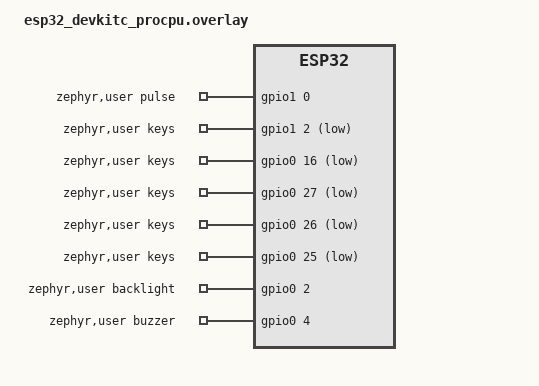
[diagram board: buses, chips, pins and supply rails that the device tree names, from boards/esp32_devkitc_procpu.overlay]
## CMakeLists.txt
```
cmake_minimum_required(VERSION 3.20.0)
find_package(Zephyr REQUIRED HINTS $ENV{ZEPHYR_BASE})
project(taxi_meter)

target_include_directories(app PRIVATE core src)
target_sources(app PRIVATE
	core/fare_engine.c
	core/json_lite.c
	core/urlq.c
	core/ota_logic.c
	core/nobat.c
	src/main.c
	src/pulse.c
	src/keys.c
	src/display.c
	src/ui.c
	src/clock.c
	src/meter.c
	src/beep.c
	src/persist.c
	src/tariff.c
	src/net.c
	src/postq.c
	src/trip_store.c
	src/report.c
	src/ota.c
	src/wdog.c
)
```

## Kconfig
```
# Application options. Everything else comes from Zephyr.

config TAXI_OTA
	bool "Firmware update over HTTPS (OTA)"
	default y
	depends on BOOTLOADER_MCUBOOT
	select FLASH
	select FLASH_MAP
	select STREAM_FLASH
	select IMG_MANAGER
	select IMG_ERASE_PROGRESSIVELY
	help
	  The meter downloads a signed MCUboot image into slot 1 when the server offers a newer
	  version, MCUboot checks the signature and swaps it in, and the new image must prove itself
	  (talk to the server) before it is confirmed. Without confirmation the old image comes back.
	  Needs a sysbuild build with MCUboot (see zephyr-app/README.md).

config TAXI_SERVER_HOST
	string "Server host name or IP address"
	default "node.raxitaxi.ir"
	help
	  The tariff / trip server. For a test on your own PC put its IP here, for example
	  west build ... -- -DCONFIG_TAXI_SERVER_HOST=\"203.0.113.7\" -DCONFIG_TAXI_SERVER_PORT=8443

config TAXI_SERVER_PORT
	int "Server HTTPS port"
	default 443
	range 1 65535

config TAXI_NTP_HOST
	string "NTP server (host name or IP)"
	default "ntp.day.ir"
	help
	  The mock server can also answer NTP (UDP 123) for tests on a local network.

source "Kconfig.zephyr"
```

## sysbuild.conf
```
# Build with:  west build --sysbuild -b esp32_devkitc/esp32/procpu zephyr-app -- \
#                  -DSB_CONFIG_BOOT_SIGNATURE_KEY_FILE=\"<your private key .pem>\"
# MCUboot checks the signature of every update with the public half of this key.
SB_CONFIG_BOOTLOADER_MCUBOOT=y
SB_CONFIG_BOOT_SIGNATURE_TYPE_ECDSA_P256=y
# Swap mode (with the scratch partition): the old image is kept and comes back if the
# new one is not confirmed. The default of the ESP32 board is "overwrite only" (no way back).
SB_CONFIG_MCUBOOT_MODE_SWAP_SCRATCH=y
```

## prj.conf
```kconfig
CONFIG_GPIO=y
CONFIG_I2C=y
CONFIG_LOG=y
CONFIG_LOG_MODE_MINIMAL=n
CONFIG_ASSERT=y
CONFIG_MAIN_STACK_SIZE=2048
CONFIG_THREAD_NAME=y
CONFIG_PICOLIBC=y

# ---- storage (settings in the "storage" flash partition) ----
CONFIG_FLASH=y
CONFIG_FLASH_MAP=y
CONFIG_NVS=y
CONFIG_SETTINGS=y
CONFIG_SETTINGS_NVS=y
CONFIG_SETTINGS_RUNTIME=n

# ---- JSON: own reader in core/json_lite.c ----

# ---- networking ----
CONFIG_NETWORKING=y
CONFIG_NET_L2_ETHERNET=y
CONFIG_NET_IPV4=y
CONFIG_NET_IPV6=n
CONFIG_NET_TCP=y
CONFIG_NET_UDP=y
CONFIG_NET_DHCPV4=y
CONFIG_NET_SOCKETS=y
CONFIG_DNS_RESOLVER=y
CONFIG_NET_CONFIG_SETTINGS=y
CONFIG_NET_CONFIG_AUTO_INIT=y
CONFIG_NET_CONFIG_NEED_IPV4=n
CONFIG_TEST_RANDOM_GENERATOR=y
CONFIG_NET_PKT_RX_COUNT=8
CONFIG_NET_PKT_TX_COUNT=8
CONFIG_NET_BUF_RX_COUNT=20
CONFIG_NET_BUF_TX_COUNT=20
CONFIG_NET_MAX_CONTEXTS=10
CONFIG_NET_TX_STACK_SIZE=2048
CONFIG_NET_RX_STACK_SIZE=2048
CONFIG_NET_MGMT_EVENT_STACK_SIZE=2048
CONFIG_NET_MGMT_EVENT_QUEUE_SIZE=16
CONFIG_NET_MGMT_EVENT_INFO=y
CONFIG_NET_MGMT_EVENT_QUEUE_TIMEOUT=5000
CONFIG_SYSTEM_WORKQUEUE_STACK_SIZE=2048
CONFIG_ZVFS_POLL_MAX=8

# ---- WiFi ----
CONFIG_WIFI=y
CONFIG_WIFI_ESP32=y
CONFIG_NET_L2_WIFI_MGMT=y

# ---- SNTP / HTTP / TLS ----
CONFIG_SNTP=y
CONFIG_HTTP_CLIENT=y
CONFIG_MBEDTLS=y
CONFIG_MBEDTLS_BUILTIN=y
CONFIG_MBEDTLS_ENABLE_HEAP=y
CONFIG_MBEDTLS_HEAP_SIZE=56000
# 16 KB = the TLS maximum. With 8 KB a server with a long certificate chain (~10 KB) could not be reached.
# Checked with tests/tls/check_tls.sh and the mock server 'bigchain' profile: heap peak ~46 KB of 56 KB.
CONFIG_MBEDTLS_SSL_MAX_CONTENT_LEN=16384
CONFIG_NET_SOCKETS_SOCKOPT_TLS=y
CONFIG_NET_SOCKETS_TLS_MAX_CONTEXTS=2
CONFIG_REBOOT=y

# ---- RAM: put .noinit (stacks, heaps, net buffers) into the free DRAM1 region ----
CONFIG_ESP32_REGION_1_NOINIT=y

# ---- stability ----
CONFIG_WATCHDOG=y
CONFIG_TASK_WDT=y
CONFIG_TASK_WDT_HW_FALLBACK=y
CONFIG_TASK_WDT_HW_FALLBACK_DELAY=500
CONFIG_TASK_WDT_CHANNELS=8
CONFIG_HWINFO=y
CONFIG_INIT_STACKS=y

# ---- stack usage report in the log every 2 minutes (shows how close each thread is to overflow) ----
CONFIG_THREAD_ANALYZER=y
CONFIG_THREAD_ANALYZER_USE_LOG=y
CONFIG_THREAD_ANALYZER_AUTO=y
CONFIG_THREAD_ANALYZER_AUTO_INTERVAL=120
CONFIG_THREAD_ANALYZER_AUTO_STACK_SIZE=1536

# ---- TLS: modern cipher suites ----
# Without these the meter only offers static-RSA + AES-CBC, which most servers refuse today
# (Nginx / Cloudflare / Node behind a proxy want ECDHE + AES-GCM). Checked by tests/tls/check_tls.sh.
CONFIG_MBEDTLS_ECP_C=y
CONFIG_MBEDTLS_ECDH_C=y
CONFIG_MBEDTLS_ECDSA_C=y
CONFIG_MBEDTLS_KEY_EXCHANGE_ECDHE_RSA_ENABLED=y
CONFIG_MBEDTLS_KEY_EXCHANGE_ECDHE_ECDSA_ENABLED=y
CONFIG_MBEDTLS_ECP_DP_SECP256R1_ENABLED=y
CONFIG_MBEDTLS_ECP_DP_SECP384R1_ENABLED=y
CONFIG_MBEDTLS_ECP_DP_CURVE25519_ENABLED=y
CONFIG_MBEDTLS_CIPHER_GCM_ENABLED=y
CONFIG_MBEDTLS_SHA384=y
CONFIG_MBEDTLS_SHA512=y
CONFIG_MBEDTLS_SSL_EXTENDED_MASTER_SECRET=y
# SNI: the meter must send the server name, or a server with several domains (CDN, shared hosting)
# answers with the wrong certificate or refuses.
CONFIG_MBEDTLS_SERVER_NAME_INDICATION=y
```

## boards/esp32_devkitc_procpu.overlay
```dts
/*
 * Taxi meter pin map (same as the Arduino version).
 * ESP32: gpio0 = GPIO0..31, gpio1 = GPIO32..39.
 *   GPIO32 = gpio1 pin 0, GPIO34 = gpio1 pin 2.
 * I2C0 (SDA=21, SCL=22, 100 kHz) is already set up by the board file.
 */
#include <zephyr/dt-bindings/gpio/gpio.h>

/ {
	zephyr,user {
		/* wheel pulse sensor, GPIO32, rising edge, internal pull-up */
		pulse-gpios = <&gpio1 0 GPIO_PULL_UP>;

		/* K1..K5. K1 = GPIO34 is input-only: it has NO internal pull-up,
		 * so the board needs an external pull-up on K1. */
		keys-gpios = <&gpio1 2 GPIO_ACTIVE_LOW>,
			     <&gpio0 16 (GPIO_ACTIVE_LOW | GPIO_PULL_UP)>,
			     <&gpio0 27 (GPIO_ACTIVE_LOW | GPIO_PULL_UP)>,
			     <&gpio0 26 (GPIO_ACTIVE_LOW | GPIO_PULL_UP)>,
			     <&gpio0 25 (GPIO_ACTIVE_LOW | GPIO_PULL_UP)>;

		/* display backlight, GPIO2 */
		backlight-gpios = <&gpio0 2 GPIO_ACTIVE_HIGH>;

		/* buzzer, GPIO4 */
		buzzer-gpios = <&gpio0 4 GPIO_ACTIVE_HIGH>;
	};
};
```

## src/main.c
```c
#include <zephyr/kernel.h>
#include <zephyr/fatal.h>
#include <zephyr/logging/log_ctrl.h>
#include <zephyr/sys/reboot.h>
#include <zephyr/logging/log.h>
#include "hw.h"
#include "meter.h"
#include "ui.h"
#include "net.h"
#include "persist.h"
#include "wdog.h"
#include "trip_store.h"

LOG_MODULE_REGISTER(main, LOG_LEVEL_INF);

/* A crash (stack overflow, bad pointer, assert) restarts the meter at once
 * instead of freezing. The queued trips are in flash, so nothing is lost. */
void k_sys_fatal_error_handler(unsigned int reason, const struct arch_esf *esf)
{
	ARG_UNUSED(esf);
	LOG_PANIC();
	LOG_ERR("fatal error %u, rebooting", reason);
	sys_reboot(SYS_REBOOT_COLD);
	CODE_UNREACHABLE;
}

int main(void)
{
	log_reset_cause();
	wdog_init();
	LOG_INF("taxi meter start");
	beep_init();
	pulse_init();
	keys_init();
	display_init();
	meter_init();
	persist_init();
	net_init();

	/* power was lost during a trip: bring it back (time without power is not counted) */
	trip_state_t saved;

	if (trip_store_load(&saved)) {
		meter_import(&saved);
		LOG_WRN("restored a running trip from flash");
	}
	ui_start();
	return 0;
}
```

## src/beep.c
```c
#include "hw.h"
#include <zephyr/kernel.h>
#include <zephyr/drivers/gpio.h>

static const struct gpio_dt_spec buzzer = GPIO_DT_SPEC_GET(DT_PATH(zephyr_user), buzzer_gpios);

struct beep_msg {
	uint32_t freq;
	uint32_t ms;
};

K_MSGQ_DEFINE(beep_q, sizeof(struct beep_msg), 4, 4);

static void beep_thread(void *a, void *b, void *c)
{
	struct beep_msg m;

	while (1) {
		k_msgq_get(&beep_q, &m, K_FOREVER);
		uint32_t half_us = 500000U / m.freq;
		uint32_t n = (m.ms * 1000U) / (2 * half_us);

		for (uint32_t i = 0; i < n; i++) {
			gpio_pin_set_dt(&buzzer, 1);
			k_busy_wait(half_us);
			gpio_pin_set_dt(&buzzer, 0);
			k_busy_wait(half_us);
		}
	}
}

K_THREAD_DEFINE(beep_tid, 1024, beep_thread, NULL, NULL, NULL, 12, 0, 0);

void beep_init(void)
{
	if (gpio_is_ready_dt(&buzzer)) {
		gpio_pin_configure_dt(&buzzer, GPIO_OUTPUT_INACTIVE);
	}
}

void beep(uint32_t freq_hz, uint32_t ms)
{
	struct beep_msg m = {.freq = freq_hz ? freq_hz : 1000, .ms = ms};

	k_msgq_put(&beep_q, &m, K_NO_WAIT);
}
```

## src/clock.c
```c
#include "hw.h"
#include <zephyr/kernel.h>

static int64_t base_epoch_s;   /* epoch at uptime_base_s */
static int64_t uptime_base_s;
static int32_t tz_offset;
static bool is_set;

void clock_set_epoch(int64_t epoch_s, int32_t tz_offset_s)
{
	base_epoch_s = epoch_s;
	uptime_base_s = k_uptime_get() / 1000;
	tz_offset = tz_offset_s;
	is_set = true;
}

bool clock_is_set(void)
{
	return is_set;
}

void clock_get_hm(int *h, int *m)
{
	if (!is_set) {
		*h = 0;
		*m = 0;
		return;
	}
	int64_t now = base_epoch_s + (k_uptime_get() / 1000 - uptime_base_s) + tz_offset;
	int64_t day_s = ((now % 86400) + 86400) % 86400;

	*h = (int)(day_s / 3600);
	*m = (int)((day_s % 3600) / 60);
}

int clock_hour_or_unset(void)
{
	int h, m;

	if (!is_set) {
		return -1;
	}
	clock_get_hm(&h, &m);
	return h;
}

int32_t clock_day(void)
{
	if (!is_set) {
		return -1;
	}
	int64_t now = base_epoch_s + (k_uptime_get() / 1000 - uptime_base_s) + tz_offset;

	return (int32_t)(now / 86400);
}
```

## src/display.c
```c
/*
 * 12-digit 7-segment display on a HT16K33 (I2C 0x70).
 * Wiring is custom: segments a..dp are on COM0..COM7, digits are on the ROW pins.
 * Same digit remap and buffer layout as the Arduino version.
 */
#include "hw.h"
#include "wdog.h"
#include <string.h>
#include <zephyr/kernel.h>
#include <zephyr/drivers/i2c.h>
#include <zephyr/logging/log.h>

LOG_MODULE_REGISTER(display, LOG_LEVEL_INF);

#define HT16K33_ADDR 0x70
#define FRAME_MS 250 /* max wait: blink phase and colon change without new text */
#define REINIT_MS 5000 /* resend the init commands (survives a display chip reset) */

static const struct device *const i2c_dev = DEVICE_DT_GET(DT_NODELABEL(i2c0));

/* ASCII 32..127 -> segments (bit0..6 = a..g, bit7 = dp) */
static const uint8_t font[96] = {

    0x00, /* (space) */
    0x86, /* ! */
    0x22, /* " */
    0x7E, /* # */
    0x6D, /* $ */
    0xD2, /* % */
    0x46, /* & */
    0x20, /* ' */
    0x29, /* ( */
    0x0B, /* ) */
    0x21, /* * */
    0x70, /* + */
    0x10, /* , */
    0x40, /* - */
    0x80, /* . */
    0x52, /* / */
    0x3F, /* 0 */
    0x06, /* 1 */
    0x5B, /* 2 */
    0x4F, /* 3 */
    0x66, /* 4 */
    0x6D, /* 5 */
    0x7D, /* 6 */
    0x07, /* 7 */
    0x7F, /* 8 */
    0x6F, /* 9 */
    0x09, /* : */
    0x0D, /* ; */
    0x61, /* < */
    0x48, /* = */
    0x43, /* > */
    0xD3, /* ? */
    0x5F, /* @ */
    0x77, /* A */
    0x7C, /* B */
    0x39, /* C */
    0x5E, /* D */
    0x79, /* E */
    0x71, /* F */
    0x3D, /* G */
    0x76, /* H */
    0x30, /* I */
    0x1E, /* J */
    0x75, /* K */
    0x38, /* L */
    0x15, /* M */
    0x37, /* N */
    0x3F, /* O */
    0x73, /* P */
    0x6B, /* Q */
    0x33, /* R */
    0x6D, /* S */
    0x78, /* T */
    0x3E, /* U */
    0x3E, /* V */
    0x2A, /* W */
    0x76, /* X */
    0x6E, /* Y */
    0x5B, /* Z */
    0x39, /* [ */
    0x64, /* \ */
    0x0F, /* ] */
    0x23, /* ^ */
    0x08, /* _ */
    0x02, /* ` */
    0x5F, /* a */
    0x7C, /* b */
    0x58, /* c */
    0x5E, /* d */
    0x7B, /* e */
    0x71, /* f */
    0x6F, /* g */
    0x74, /* h */
    0x10, /* i */
    0x0C, /* j */
    0x75, /* k */
    0x30, /* l */
    0x14, /* m */
    0x54, /* n */
    0x5C, /* o */
    0x73, /* p */
    0x67, /* q */
    0x50, /* r */
    0x6D, /* s */
    0x78, /* t */
    0x1C, /* u */
    0x1C, /* v */
    0x14, /* w */
    0x76, /* x */
    0x6E, /* y */
    0x5B, /* z */
    0x46, /* { */
    0x30, /* | */
    0x70, /* } */
    0x01, /* ~ */
    0x00, /* (del) */
};

static K_MUTEX_DEFINE(lock);
static K_SEM_DEFINE(wake, 0, 1);
static char text[12 + 1] = "            ";
static uint8_t dp_mask[12]; /* dp requested by a '.' in the text */
static bool colon_on;
static bool wifi_ok;

/* Parse "123.4" style text into `width` digit characters.
 * '.' sets the dp of the previous digit. Result is padded with spaces. */
static void parse_field(const char *s, int width, char *chars, uint8_t *dps)
{
	int n = 0;

	memset(chars, ' ', width);
	memset(dps, 0, width);

	for (const char *p = s; *p && n < width; p++) {
		if (*p == '.') {
			if (n > 0) {
				dps[n - 1] = 0x80;
			}
			continue;
		}
		chars[n++] = *p;
	}
}

void display_set(const char *big8, const char *small4, bool show_colon)
{
	char c1[8], c2[4];
	uint8_t d1[8], d2[4];

	parse_field(big8, 8, c1, d1);
	parse_field(small4, 4, c2, d2);

	bool changed;

	k_mutex_lock(&lock, K_FOREVER);
	changed = memcmp(text, c1, 8) || memcmp(text + 8, c2, 4) || memcmp(dp_mask, d1, 8) ||
		  memcmp(dp_mask + 8, d2, 4) || colon_on != show_colon;
	memcpy(text, c1, 8);
	memcpy(text + 8, c2, 4);
	memcpy(dp_mask, d1, 8);
	memcpy(dp_mask + 8, d2, 4);
	colon_on = show_colon;
	k_mutex_unlock(&lock);

	if (changed) {
		k_sem_give(&wake); /* redraw right now, do not wait for the next frame */
	}
}

void display_set_wifi(bool connected)
{
	wifi_ok = connected;
	k_sem_give(&wake);
}

/* logical index (0..7 big field, 8..11 small field) -> physical position */
static const uint8_t phys_to_logical[12] = {7, 8, 9, 10, 11, 3, 2, 0, 1, 4, 5, 6};

static void build_frame(uint8_t buf[16], const char *txt, const uint8_t *dps, bool colon)
{
	uint8_t seg[12];

	for (int i = 0; i < 12; i++) {
		unsigned char ch = (unsigned char)txt[i];

		if (ch < 32 || ch > 127) {
			ch = ' ';
		}
		seg[i] = font[ch - 32] | dps[i];
	}
	/* colon = dp of the 2nd char of the small field (logical 9) */
	if (colon) {
		seg[9] |= 0x80;
	} else {
		seg[9] &= (uint8_t)~0x80;
	}

	uint8_t phys[12];

	for (int p = 0; p < 12; p++) {
		phys[p] = seg[phys_to_logical[p]];
	}

	memset(buf, 0, 16);
	for (int s = 0; s < 8; s++) {
		uint8_t lower = 0, upper = 0;

		for (int i = 0; i < 5; i++) { /* ROW3..ROW7 */
			lower <<= 1;
			if (phys[i] & (1 << s)) {
				lower |= 1;
			}
		}
		for (int i = 5; i < 12; i++) { /* ROW8..ROW14 */
			upper <<= 1;
			if (phys[i] & (1 << s)) {
				upper |= 1;
			}
		}
		buf[2 * s] = (uint8_t)(lower << 3);
		buf[2 * s + 1] = upper;
	}
}

static void display_hw_init(void)
{
	static const uint8_t cmds[] = {
		0x21, /* oscillator on */
		0x81, /* display on, no blink */
		0xE0, /* brightness level 0 (0xE0..0xEF) */
	};

	for (size_t i = 0; i < ARRAY_SIZE(cmds); i++) {
		i2c_write(i2c_dev, &cmds[i], 1, HT16K33_ADDR);
	}
}

static void display_thread(void *a, void *b, void *c)
{
	uint8_t frame[17]; /* address byte + 16 data bytes */
	int64_t last_init = k_uptime_get();
	int errors = 0;
	int wd = wdog_add(3000);

	while (1) {
		/* wakes at once when the text changes, otherwise every FRAME_MS */
		k_sem_take(&wake, K_MSEC(FRAME_MS));
		wdog_feed(wd);

		char txt[12];
		uint8_t dps[12];
		bool colon;

		k_mutex_lock(&lock, K_FOREVER);
		memcpy(txt, text, 12);
		memcpy(dps, dp_mask, 12);
		colon = colon_on && ((k_uptime_get() / 500) & 1);
		k_mutex_unlock(&lock);

		build_frame(&frame[1], txt, dps, colon);

		/* status LEDs on ROW15 (bit 7 of the high bytes of COM0 and COM1) */
		bool blink = (k_uptime_get() / 500) & 1;

		if (wifi_ok) {
			frame[1 + 1] |= 0x80;
			frame[1 + 3] &= (uint8_t)~0x80;
		} else {
			frame[1 + 1] &= (uint8_t)~0x80;
			if (blink) {
				frame[1 + 3] |= 0x80;
			} else {
				frame[1 + 3] &= (uint8_t)~0x80;
			}
		}

		/* re-send the setup now and then, and after any I2C error */
		if (errors >= 3 || k_uptime_get() - last_init >= REINIT_MS) {
			display_hw_init();
			last_init = k_uptime_get();
			errors = 0;
		}

		frame[0] = 0x00; /* RAM start address */
		int err = i2c_write(i2c_dev, frame, sizeof(frame), HT16K33_ADDR);

		if (err) {
			errors++;
			LOG_WRN_ONCE("display i2c write failed: %d", err);
		} else {
			errors = 0;
		}

		/* never redraw faster than every 10 ms even if the text changes a lot */
		k_sleep(K_MSEC(10));
	}
}

K_THREAD_DEFINE(display_tid, 2048, display_thread, NULL, NULL, NULL, 8, 0, 300);

void display_init(void)
{
	if (!device_is_ready(i2c_dev)) {
		LOG_ERR("i2c0 not ready");
		return;
	}
	display_hw_init();
}
```

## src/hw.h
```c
#ifndef HW_H
#define HW_H
#include <stdint.h>
#include <stdbool.h>

/* ---- pulse.c ---- */
void pulse_init(void);
/* Returns pulses since last call and clears the counter (atomic). */
uint32_t pulse_take(void);

/* ---- keys.c ---- */
#define KEY_COUNT 5 /* K1..K5 are index 0..4 */

typedef struct {
	bool pressed[KEY_COUNT];       /* press edge since last key_poll() */
	bool released[KEY_COUNT];      /* release edge since last key_poll() */
	bool still[KEY_COUNT];         /* key is down now */
	int32_t hold_ms;               /* how long the current key is held */
	int32_t rest_ms;               /* how long no key is down */
} key_snapshot_t;

void keys_init(void);
/* Copy the edge flags that happened since the last call, then clear them. */
void key_poll(key_snapshot_t *out);
/* ms with no key pressed (for the network "idle" rule). */
int32_t key_rest_ms(void);

/* ---- display.c ---- */
void display_init(void);
/* Text for the big field (8 chars) and the small field (4 chars).
 * A '.' attaches a decimal point to the previous digit and uses no digit. */
void display_set(const char *big8, const char *small4, bool show_colon);
void display_set_wifi(bool connected);

/* ---- beep.c ---- */
void beep_init(void);
void beep(uint32_t freq_hz, uint32_t ms); /* non-blocking */

/* ---- clock.c ---- */
void clock_set_epoch(int64_t epoch_s, int32_t tz_offset_s);
bool clock_is_set(void);
void clock_get_hm(int *h, int *m);
/* Hour for the fare engine: -1 when the clock was never set. */
int clock_hour_or_unset(void);
/* Local calendar day number (days since 1970), -1 when the clock was never set. */
int32_t clock_day(void);

#endif
```

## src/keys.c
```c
#include "hw.h"
#include "wdog.h"
#include <zephyr/kernel.h>
#include <zephyr/drivers/gpio.h>
#include <zephyr/logging/log.h>

LOG_MODULE_REGISTER(keys, LOG_LEVEL_INF);

#define SCAN_MS 10
#define DEBOUNCE_SAMPLES 3 /* 30 ms stable */

#define KEY_SPEC(i) GPIO_DT_SPEC_GET_BY_IDX(DT_PATH(zephyr_user), keys_gpios, i)

static const struct gpio_dt_spec keys[KEY_COUNT] = {
	KEY_SPEC(0), KEY_SPEC(1), KEY_SPEC(2), KEY_SPEC(3), KEY_SPEC(4),
};

static K_MUTEX_DEFINE(lock);
static key_snapshot_t state; /* edges accumulate here until key_poll() */

static void scan_thread(void *a, void *b, void *c)
{
	bool stable[KEY_COUNT] = {0};
	uint8_t cnt[KEY_COUNT] = {0};
	int64_t next = k_uptime_get();
	int wd = wdog_add(1000);

	while (1) {
		wdog_feed(wd);
		next += SCAN_MS;

		bool any = false;

		k_mutex_lock(&lock, K_FOREVER);
		for (int i = 0; i < KEY_COUNT; i++) {
			bool raw = gpio_pin_get_dt(&keys[i]) > 0;

			if (raw == stable[i]) {
				cnt[i] = 0;
			} else if (++cnt[i] >= DEBOUNCE_SAMPLES) {
				stable[i] = raw;
				cnt[i] = 0;
				if (raw) {
					state.pressed[i] = true;
				} else {
					state.released[i] = true;
				}
			}
			state.still[i] = stable[i];
			any |= stable[i];
		}
		if (any) {
			state.hold_ms += SCAN_MS;
			state.rest_ms = 0;
		} else {
			state.hold_ms = 0;
			if (state.rest_ms < INT32_MAX - SCAN_MS) {
				state.rest_ms += SCAN_MS;
			}
		}
		k_mutex_unlock(&lock);

		k_sleep(K_TIMEOUT_ABS_MS(next));
	}
}

K_THREAD_DEFINE(keys_tid, 1024, scan_thread, NULL, NULL, NULL, 6, 0, 200);

void keys_init(void)
{
	for (int i = 0; i < KEY_COUNT; i++) {
		if (!gpio_is_ready_dt(&keys[i])) {
			LOG_ERR("key %d gpio not ready", i + 1);
			continue;
		}
		/* flags (active low, pull-up) come from the devicetree */
		gpio_pin_configure_dt(&keys[i], GPIO_INPUT);
	}
}

void key_poll(key_snapshot_t *out)
{
	k_mutex_lock(&lock, K_FOREVER);
	*out = state;
	for (int i = 0; i < KEY_COUNT; i++) {
		state.pressed[i] = false;
		state.released[i] = false;
	}
	k_mutex_unlock(&lock);
}

int32_t key_rest_ms(void)
{
	k_mutex_lock(&lock, K_FOREVER);
	int32_t v = state.rest_ms;

	k_mutex_unlock(&lock);
	return v;
}
```

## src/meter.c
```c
#include "meter.h"
#include "hw.h"
#include "wdog.h"
#include <stdio.h>
#include <string.h>
#include <zephyr/kernel.h>
#include <zephyr/logging/log.h>

LOG_MODULE_REGISTER(meter, LOG_LEVEL_INF);

meter_cfg_t meter_cfg = {.authorized = true, .korsi = true, .darbast = true,
			 .samar = true, .nobat = true};

/* Placeholder defaults. The real values come from the server tariff. */
fare_tariff_t meter_tariff1 = {
	.pm = 46, .start_night = 22, .stop_night = 6, .percent_night = 10,
	.max_stop_kmh = 20, .free_trip_m = 0, .free_time_s = 0, .fraction = 50,
	.trip3_pulses = 0, .pri_cost = 26200,
	.rate = {.cost_200 = 1318, .cost_stop = 8000},
	.rate3 = {.cost_200 = 1318, .cost_stop = 8000},
};
fare_tariff_t meter_tariff4 = {
	.pm = 46, .start_night = 22, .stop_night = 6, .percent_night = 10,
	.max_stop_kmh = 20, .free_trip_m = 0, .free_time_s = 0, .fraction = 50,
	.trip3_pulses = 0, .pri_cost = 5000,
	.rate = {.cost_200 = 384, .cost_stop = 334},
	.rate3 = {.cost_200 = 384, .cost_stop = 334},
};

static K_MUTEX_DEFINE(lock);
static fare_ch_t ch[4];
static const fare_tariff_t *tar[4] = {&meter_tariff1, &meter_tariff4, &meter_tariff4, &meter_tariff4};
static uint32_t total_pulses;
static char start_hhmm[4][8];
static volatile int live_speed;

static void meter_thread(void *a, void *b, void *c)
{
	int64_t next = k_uptime_get();
	int wd = wdog_add(4000);

	while (1) {
		next += 1000;
		k_sleep(K_TIMEOUT_ABS_MS(next));
		wdog_feed(wd);

		uint32_t pulses = pulse_take();
		int hour = clock_hour_or_unset();

		if (meter_tariff1.pm > 0) {
			live_speed = (int)(((int64_t)pulses * 36) / meter_tariff1.pm);
		}

		k_mutex_lock(&lock, K_FOREVER);
		total_pulses += pulses;
		for (int i = 0; i < 4; i++) {
			if (ch[i].active) {
				fare_tick(&ch[i], tar[i], pulses, hour);
			}
		}
		k_mutex_unlock(&lock);
	}
}

K_THREAD_DEFINE(meter_tid, 2048, meter_thread, NULL, NULL, NULL, 5, 0, 500);

void meter_init(void)
{
}

void meter_set_config(const fare_tariff_t *t1, const fare_tariff_t *t4, const meter_cfg_t *cfg)
{
	k_mutex_lock(&lock, K_FOREVER);
	meter_tariff1 = *t1;
	meter_tariff4 = *t4;
	meter_cfg = *cfg;
	k_mutex_unlock(&lock);
}

void meter_start(int i, bool is4ch)
{
	int h = clock_hour_or_unset();
	int hh, mm;

	clock_get_hm(&hh, &mm);
	k_mutex_lock(&lock, K_FOREVER);
	snprintf(start_hhmm[i], sizeof(start_hhmm[i]), "%02d:%02d", hh % 100, mm % 100);
	tar[i] = (is4ch || i > 0) ? &meter_tariff4 : &meter_tariff1;
	fare_start(&ch[i], tar[i], h);
	k_mutex_unlock(&lock);
}

void meter_stop(int i)
{
	k_mutex_lock(&lock, K_FOREVER);
	ch[i].active = false;
	ch[i].paused = false;
	k_mutex_unlock(&lock);
}

bool meter_toggle_pause(int i)
{
	k_mutex_lock(&lock, K_FOREVER);
	ch[i].paused = !ch[i].paused;
	bool p = ch[i].paused;

	k_mutex_unlock(&lock);
	return p;
}

void meter_snap(int i, meter_snap_t *o)
{
	k_mutex_lock(&lock, K_FOREVER);
	o->active = ch[i].active;
	o->paused = ch[i].paused;
	o->night = ch[i].night;
	o->total_rial = ch[i].active ? fare_total(&ch[i], tar[i]) : 0;
	o->speed_kmh = ch[i].speed_kmh;
	o->hkm = fare_distance_hkm(&ch[i], tar[i]);
	o->dist_m = (int32_t)fare_distance_m(&ch[i], tar[i]);
	o->wait_s = ch[i].seconds_slow;
	o->duration_s = ch[i].seconds_total;
	o->trip_price = ch[i].active ? fare_trip_price(&ch[i], tar[i]) : 0;
	o->traffic_price = ch[i].active ? fare_traffic_price(&ch[i], tar[i]) : 0;
	o->night_price = ch[i].active ? fare_night_price(&ch[i], tar[i]) : 0;
	o->avg_speed_kmh = fare_avg_speed_kmh(&ch[i], tar[i]);
	o->max_speed_kmh = ch[i].max_speed_kmh;
	memcpy(o->start_hhmm, start_hhmm[i], sizeof(o->start_hhmm));
	k_mutex_unlock(&lock);
}

bool meter_any_active(void)
{
	bool a = false;

	k_mutex_lock(&lock, K_FOREVER);
	for (int i = 0; i < 4; i++) {
		a |= ch[i].active;
	}
	k_mutex_unlock(&lock);
	return a;
}

uint32_t meter_total_pulses(void)
{
	return total_pulses;
}

void meter_clear_total(void)
{
	k_mutex_lock(&lock, K_FOREVER);
	total_pulses = 0;
	k_mutex_unlock(&lock);
}

void meter_export(trip_state_t *out)
{
	memset(out, 0, sizeof(*out));
	k_mutex_lock(&lock, K_FOREVER);
	for (int i = 0; i < 4; i++) {
		out->ch[i] = ch[i];
		out->is4[i] = (tar[i] == &meter_tariff4);
		memcpy(out->start[i], start_hhmm[i], sizeof(out->start[i]));
	}
	k_mutex_unlock(&lock);
	trip_state_seal(out);
}

void meter_import(const trip_state_t *in)
{
	k_mutex_lock(&lock, K_FOREVER);
	for (int i = 0; i < 4; i++) {
		ch[i] = in->ch[i];
		tar[i] = in->is4[i] ? &meter_tariff4 : &meter_tariff1;
		memcpy(start_hhmm[i], in->start[i], sizeof(start_hhmm[i]));
		start_hhmm[i][sizeof(start_hhmm[i]) - 1] = '\0';
	}
	k_mutex_unlock(&lock);
}

int meter_speed_kmh(void)
{
	return live_speed;
}
```

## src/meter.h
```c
#ifndef METER_H
#define METER_H
#include <stdbool.h>
#include <stdint.h>
#include "fare_engine.h"
#include "trip_store.h"

/* Feature flags (from the server tariff). */
typedef struct {
	bool authorized; /* false when the server says "expired" (HTTP 403) */
	bool korsi;      /* 4-channel meter allowed */
	bool darbast;    /* single meter allowed */
	bool samar;
	bool nobat;
} meter_cfg_t;

extern meter_cfg_t meter_cfg;
extern fare_tariff_t meter_tariff1; /* single meter */
extern fare_tariff_t meter_tariff4; /* 4-channel meter */

typedef struct {
	bool active;
	bool paused;
	bool night;
	int64_t total_rial;
	int32_t speed_kmh;
	int32_t hkm;    /* distance in 0.1 km */
	int32_t dist_m;
	int32_t wait_s; /* seconds counted as waiting */
	int32_t duration_s;
	int64_t trip_price;    /* route price (start fare + distance) */
	int64_t traffic_price; /* waiting-time price */
	int64_t night_price;   /* night surcharge inside trip_price */
	int32_t avg_speed_kmh;
	int32_t max_speed_kmh;
	char start_hhmm[8];   /* "HH:MM" when this trip started */
} meter_snap_t;

void meter_init(void);
/* Replace tariffs and flags (thread safe). */
void meter_set_config(const fare_tariff_t *t1, const fare_tariff_t *t4, const meter_cfg_t *cfg);
void meter_start(int ch, bool is4ch);
void meter_stop(int ch);
bool meter_toggle_pause(int ch);
void meter_snap(int ch, meter_snap_t *out);
/* Power-loss recovery */
void meter_export(trip_state_t *out);  /* sealed snapshot of all channels */
void meter_import(const trip_state_t *in);
bool meter_any_active(void);
uint32_t meter_total_pulses(void);
int meter_speed_kmh(void); /* live speed, also when no trip is running */
void meter_clear_total(void);

/* Implemented outside (network layer). Weak stubs live in main.c for now. */
void trip_submit(int bt_number, const meter_snap_t *s, const char *start_hhmm);
void net_reload_tariff(void);
void net_trip_start(int bt_number);
void net_reset_wifi(void);

#endif
```

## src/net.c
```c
/*
 * WiFi, NTP clock, tariff download and the trip/service upload queue.
 * One thread (`net`) does all blocking network work. The UI never waits for it.
 */
#include "net.h"
#include <stdio.h>
#include <string.h>
#include <zephyr/kernel.h>
#include <zephyr/sys/reboot.h>
#include <zephyr/settings/settings.h>
#include <zephyr/net/net_if.h>
#include <zephyr/net/net_mgmt.h>
#include <zephyr/net/wifi_mgmt.h>
#include <zephyr/net/socket.h>
#include <zephyr/net/sntp.h>
#include <zephyr/net/http/client.h>
#include <zephyr/logging/log.h>
#include "hw.h"
#include "meter.h"
#include "persist.h"
#include "tariff.h"
#include "postq.h"
#include "trip_store.h"
#include "report.h"
#include "urlq.h"
#include "nobat.h"
#include "ota.h"
#include "wdog.h"

LOG_MODULE_REGISTER(net, LOG_LEVEL_INF);

#define SERVER_HOST CONFIG_TAXI_SERVER_HOST /* Kconfig: default node.raxitaxi.ir */
#define SERVER_PORT CONFIG_TAXI_SERVER_PORT /* Kconfig: default 443 */
#define TARIFF_PATH "/api/taxi/TaxiFare?driver_type=1&serial="
#define NTP_SERVER CONFIG_TAXI_NTP_HOST /* Kconfig: default ntp.day.ir */
#define TZ_OFFSET_S 12600 /* Iran, +03:30, no DST */

#define IDLE_BEFORE_SEND_MS 3000 /* send only when no key was used for 3 s */
#define RESYNC_MS (10 * 60 * 1000)
#define CONNECT_RETRY_MS 30000
#define RESERVE_SSID "Usefi"

/* ---------------- state ---------------- */
static struct net_mgmt_event_callback wifi_cb;
static struct net_mgmt_event_callback ip_cb;
static volatile bool connected;
static volatile bool connect_pending;
static volatile bool tariff_requested = true;
static volatile int64_t tariff_try_after; /* ms uptime, no tariff request before this */
static char serial[13];
static volatile int server_state;

/* ---------------- post queue: see postq.c ---------------- */
static K_SEM_DEFINE(q_wake, 0, 1);

/* ---------------- nobat (queue at a station) ---------------- */
static volatile bool reserve_found;   /* the station WiFi was seen in a scan */
static volatile int nb_phase;         /* nb_phase_t, written by both threads under nb_gen */
static volatile int nb_pos;
static volatile int64_t nb_id;        /* queue id from the server */
static volatile uint32_t nb_gen;      /* changes on begin/leave/board: an old answer is thrown away */
static int64_t trip_nobat_id;         /* added to the next single-meter trip end */
#define NOBAT_POLL_MS 5000
static K_MUTEX_DEFINE(nb_lock);       /* short: never held during a network call */

int net_server_state(void)
{
	return server_state;
}

const char *net_serial(void)
{
	return serial;
}

bool net_wifi_connected(void)
{
	return connected;
}

int cfg_service_count(void)
{
	return persist.service_count;
}

int cfg_service(int idx)
{
	return (idx >= 0 && idx < SERVICE_MAX) ? persist.service[idx] : 0;
}

void net_nobat_begin(void)
{
	k_mutex_lock(&nb_lock, K_FOREVER);
	nb_gen++;
	reserve_found = false;
	nb_pos = 0;
	nb_id = 0;
	nb_phase = NB_SEARCH;
	k_mutex_unlock(&nb_lock);
}

static void nobat_post(const char *head, bool with_id)
{
	char url[URL_MAX];
	urlq_t q;

	urlq_init(&q, url, sizeof(url), head);
	urlq_str(&q, "serial", serial);
	if (with_id && nb_id > 0) {
		urlq_int(&q, "nobat_id", nb_id);
	}
	if (urlq_ok(&q)) {
		net_post(url);
	}
}

void net_nobat_leave(void)
{
	k_mutex_lock(&nb_lock, K_FOREVER);
	int ph = nb_phase;

	nb_gen++;
	nb_phase = NB_OFF;
	k_mutex_unlock(&nb_lock);
	if (ph == NB_WAIT || ph == NB_TURN) {
		nobat_post("/api/taxi/NobatLeave?", true);
	}
}

void net_nobat_board(void)
{
	k_mutex_lock(&nb_lock, K_FOREVER);
	nb_gen++;
	nb_phase = NB_OFF;
	k_mutex_unlock(&nb_lock);
	nobat_post("/api/taxi/NobatBoard?", true);
	trip_nobat_id = nb_id;
}

nb_phase_t net_nobat_phase(void)
{
	return (nb_phase_t)nb_phase;
}

int net_nobat_position(void)
{
	return nb_pos;
}

/* ---------------- public helpers used by the UI ---------------- */
bool net_post(const char *path_query)
{
	bool ok = postq_push(path_query);

	k_sem_give(&q_wake);
	return ok;
}

void net_service_send(int service_number, int start)
{
	char url[URL_MAX];
	urlq_t q;

	/* "?&serial=" is how the old firmware wrote it: keep it, the server may depend on it */
	urlq_init(&q, url, sizeof(url), "/api/taxi/StartService?&");
	urlq_str(&q, "serial", serial);
	urlq_int(&q, "serviceNum", service_number);
	urlq_int(&q, "start", start);
	if (urlq_ok(&q)) {
		net_post(url);
	} else {
		LOG_ERR("service record too long, NOT queued");
	}
}

void net_trip_start(int bt)
{
	char url[URL_MAX];
	urlq_t q;

	urlq_init(&q, url, sizeof(url), "/api/taxi/SetTaxiStart?");
	urlq_str(&q, "serial", serial);
	urlq_int(&q, "bt_number", bt);
	if (urlq_ok(&q)) {
		net_post(url);
	} else {
		LOG_ERR("trip start record too long, NOT queued");
	}
}

void trip_submit(int bt, const meter_snap_t *s, const char *start_hhmm)
{
	char url[URL_MAX];
	urlq_t q;
	int h, m;
	char stop[8];

	clock_get_hm(&h, &m);
	snprintf(stop, sizeof(stop), "%02d:%02d", h % 100, m % 100);

	/* trip_price = route price, night_price = night part of it, traffic_price = waiting.
	 * traffic_distance is not measured yet (0). */
	urlq_init(&q, url, sizeof(url), "/api/taxi/SetTaxiEnd?");
	urlq_str(&q, "driver_id", serial);
	urlq_str(&q, "serial", serial);
	urlq_int(&q, "bt_number", bt);
	urlq_str(&q, "start_time", start_hhmm);
	urlq_str(&q, "stop_time", stop);
	urlq_int(&q, "trip_distance", s->dist_m);
	urlq_int(&q, "trip_duration", s->duration_s);
	urlq_int(&q, "traffic_distance", 0);
	urlq_int(&q, "traffic_duration", s->wait_s);
	urlq_int(&q, "avg_speed", s->avg_speed_kmh);
	urlq_int(&q, "max_speed", s->max_speed_kmh);
	urlq_int(&q, "trip_price", s->trip_price);
	urlq_int(&q, "traffic_price", s->traffic_price);
	urlq_int(&q, "night_price", s->night_price);
	urlq_int(&q, "total_price", s->total_rial);
	if (bt == 5 && trip_nobat_id > 0) {
		urlq_int(&q, "nobat_id", trip_nobat_id); /* this trip came from the station queue */
	}
	trip_nobat_id = 0;
	if (!urlq_ok(&q)) {
		LOG_ERR("trip record too long, NOT queued");
		return;
	}
	net_post(url);
}

void net_reload_tariff(void)
{
	tariff_try_after = 0;
	tariff_requested = true;
}

void net_reset_wifi(void)
{
	persist_reset_wifi();
	LOG_WRN("WiFi reset to default, rebooting");
	k_sleep(K_MSEC(200));
	sys_reboot(SYS_REBOOT_COLD);
}

/* ---------------- WiFi ---------------- */
static void wifi_event(struct net_mgmt_event_callback *cb, uint64_t ev, struct net_if *iface)
{
	switch (ev) {
	case NET_EVENT_WIFI_CONNECT_RESULT: {
		const struct wifi_status *st = cb->info;

		if (st && st->status) {
			LOG_WRN("WiFi connect failed: %d", st->status);
			connect_pending = false;
		}
		break;
	}
	case NET_EVENT_WIFI_DISCONNECT_RESULT:
		LOG_WRN("WiFi disconnected");
		connected = false;
		connect_pending = false;
		display_set_wifi(false);
		break;
	case NET_EVENT_WIFI_SCAN_RESULT: {
		const struct wifi_scan_result *r = cb->info;

		if (r && r->ssid_length == strlen(RESERVE_SSID) &&
		    memcmp(r->ssid, RESERVE_SSID, r->ssid_length) == 0) {
			reserve_found = true;
		}
		break;
	}
	default:
		break;
	}
}

static void ip_event(struct net_mgmt_event_callback *cb, uint64_t ev, struct net_if *iface)
{
	if (ev == NET_EVENT_IPV4_ADDR_ADD) {
		LOG_INF("WiFi connected, got IPv4");
		connected = true;
		connect_pending = false;
		tariff_requested = true;
		display_set_wifi(true);
	}
}

static void wifi_connect(void)
{
	struct net_if *iface = net_if_get_first_wifi();

	if (!iface) {
		LOG_ERR("no wifi interface");
		return;
	}

	struct wifi_connect_req_params p = {
		.ssid = (const uint8_t *)persist.ssid,
		.ssid_length = strlen(persist.ssid),
		.psk = (const uint8_t *)persist.pass,
		.psk_length = strlen(persist.pass),
		.security = persist.pass[0] ? WIFI_SECURITY_TYPE_PSK : WIFI_SECURITY_TYPE_NONE,
		.band = WIFI_FREQ_BAND_UNKNOWN,
		.channel = WIFI_CHANNEL_ANY,
		.mfp = WIFI_MFP_OPTIONAL,
	};

	LOG_INF("WiFi connecting to %s", persist.ssid);
	connect_pending = true;
	if (net_mgmt(NET_REQUEST_WIFI_CONNECT, iface, &p, sizeof(p))) {
		LOG_ERR("WiFi connect request failed");
		connect_pending = false;
	}
}

static void wifi_scan(void)
{
	struct net_if *iface = net_if_get_first_wifi();

	if (iface) {
		struct wifi_scan_params sp = {0};

		net_mgmt(NET_REQUEST_WIFI_SCAN, iface, &sp, sizeof(sp));
	}
}

static void read_serial(void)
{
	struct net_if *iface = net_if_get_first_wifi();

	if (!iface) {
		return;
	}
	struct net_linkaddr *la = net_if_get_link_addr(iface);

	if (la && la->len >= 6) {
		snprintf(serial, sizeof(serial), "%02X%02X%02X%02X%02X%02X", la->addr[0],
			 la->addr[1], la->addr[2], la->addr[3], la->addr[4], la->addr[5]);
	}
}

/* ---------------- NTP ---------------- */
static bool ntp_sync(void)
{
	struct zsock_addrinfo hints = {.ai_family = AF_INET, .ai_socktype = SOCK_DGRAM};
	struct zsock_addrinfo *res = NULL;

	if (zsock_getaddrinfo(NTP_SERVER, "123", &hints, &res) != 0 || !res) {
		LOG_WRN("NTP DNS failed");
		return false;
	}

	struct sntp_ctx ctx;
	struct sntp_time ts;
	int rc = sntp_init(&ctx, res->ai_addr, res->ai_addrlen);

	zsock_freeaddrinfo(res);
	if (rc < 0) {
		LOG_WRN("sntp_init failed: %d", rc);
		return false;
	}
	rc = sntp_query(&ctx, 4000, &ts);
	sntp_close(&ctx);
	if (rc < 0) {
		LOG_WRN("sntp_query failed: %d", rc);
		return false;
	}
	clock_set_epoch((int64_t)ts.seconds, TZ_OFFSET_S);
	LOG_INF("time synced: %llu", (unsigned long long)ts.seconds);
	return true;
}

/* ---------------- HTTPS ---------------- */
static int net_wd = -1; /* watchdog channel of the net thread */

struct resp_ctx {
	char *buf;
	size_t size;
	size_t len;
	int status;
	net_sink_t sink; /* body goes to the sink (download) instead of the buffer */
	void *sink_user;
	int sock;
	bool aborted;
};

static int resp_handler(struct http_response *rsp, enum http_final_call final_data, void *user)
{
	struct resp_ctx *c = user;

	c->status = rsp->http_status_code;
	wdog_feed(net_wd); /* a long download keeps the watchdog happy while data arrives */

	if (!rsp->body_found || !rsp->body_frag_start || c->aborted) {
		return 0;
	}
	if (c->sink) {
		if (rsp->http_status_code == 200 && rsp->body_frag_len > 0 &&
		    c->sink((const uint8_t *)rsp->body_frag_start, rsp->body_frag_len,
			    c->sink_user) < 0) {
			/* the sink wants to stop: close the socket, the request ends with an error */
			c->aborted = true;
			if (c->sock >= 0) {
				zsock_close(c->sock);
				c->sock = -1;
			}
		}
	} else if (c->buf) {
		size_t n = MIN(rsp->body_frag_len, c->size - 1 - c->len);

		memcpy(c->buf + c->len, rsp->body_frag_start, n);
		c->len += n;
		c->buf[c->len] = '\0';
	}
	return 0;
}

/* Returns the HTTP status code, or a negative error. `api` = this is the tariff server
 * (its answer decides the HOST UP/BAD text). */
static int https_do(enum http_method method, const char *host, uint16_t port, const char *path,
		    char *body, size_t body_size, net_sink_t sink, void *sink_user,
		    int timeout_ms, bool api)
{
	static uint8_t rx_buf[1024];
	struct zsock_addrinfo hints = {.ai_family = AF_INET, .ai_socktype = SOCK_STREAM};
	struct zsock_addrinfo *res = NULL;
	char port_str[8];
	int ret;

	snprintf(port_str, sizeof(port_str), "%u", port);
	if (zsock_getaddrinfo(host, port_str, &hints, &res) != 0 || !res) {
		LOG_WRN("DNS failed for %s", host);
		if (api) {
			server_state = -1;
		}
		return -EHOSTUNREACH;
	}

	int sock = zsock_socket(res->ai_family, SOCK_STREAM, IPPROTO_TLS_1_2);

	if (sock < 0) {
		zsock_freeaddrinfo(res);
		return -errno;
	}

	/* NOTE: no CA certificate is installed, so the server is NOT verified.
	 * This is the same as the old Arduino firmware. Add a CA with tls_credential_add()
	 * and use TLS_PEER_VERIFY_REQUIRED + TLS_SEC_TAG_LIST for real security.
	 * (A firmware download is safe anyway: MCUboot checks the signature of the image.) */
	int verify = TLS_PEER_VERIFY_NONE;

	struct zsock_timeval tmo = {.tv_sec = 10, .tv_usec = 0};

	zsock_setsockopt(sock, SOL_SOCKET, SO_RCVTIMEO, &tmo, sizeof(tmo));
	zsock_setsockopt(sock, SOL_SOCKET, SO_SNDTIMEO, &tmo, sizeof(tmo));
	zsock_setsockopt(sock, SOL_TLS, TLS_PEER_VERIFY, &verify, sizeof(verify));
	zsock_setsockopt(sock, SOL_TLS, TLS_HOSTNAME, host, strlen(host) + 1);

	ret = zsock_connect(sock, res->ai_addr, res->ai_addrlen);
	zsock_freeaddrinfo(res);
	if (ret < 0) {
		ret = -errno;
		zsock_close(sock);
		LOG_WRN("connect to %s failed: %d", host, ret);
		if (api) {
			server_state = -1;
		}
		return ret;
	}

	static const char *headers[] = {"Content-Length: 0\r\n", NULL};
	struct resp_ctx ctx = {.buf = body, .size = body_size, .len = 0, .status = 0,
			       .sink = sink, .sink_user = sink_user, .sock = sock, .aborted = false};
	struct http_request req = {
		.method = method,
		.url = path,
		.host = host,
		.protocol = "HTTP/1.1",
		.response = resp_handler,
		.recv_buf = rx_buf,
		.recv_buf_len = sizeof(rx_buf),
	};

	if (method == HTTP_POST) {
		req.optional_headers = headers;
	}
	if (body && body_size) {
		body[0] = '\0';
	}

	ret = http_client_req(sock, &req, timeout_ms, &ctx);
	if (ctx.sock >= 0) {
		zsock_close(ctx.sock); /* not closed by the sink */
	}
	if (ctx.aborted) {
		return -ECANCELED;
	}
	if (ret < 0) {
		LOG_WRN("http request failed: %d", ret);
		if (api) {
			server_state = -1;
		}
		return ret;
	}
	if (api) {
		server_state = 1;
	}
	return ctx.status;
}

static int https_request(enum http_method method, const char *path, char *body, size_t body_size)
{
	return https_do(method, SERVER_HOST, SERVER_PORT, path, body, body_size, NULL, NULL,
			10 * MSEC_PER_SEC, true);
}

int net_download(const char *host, uint16_t port, const char *path, net_sink_t sink, void *user)
{
	return https_do(HTTP_GET, host, port, path, NULL, 0, sink, user, 5 * 60 * MSEC_PER_SEC, false);
}

static void tariff_fetch(void)
{
	static char body[2048];
	char path[96];

	snprintf(path, sizeof(path), TARIFF_PATH "%s", serial);
	int st = https_request(HTTP_GET, path, body, sizeof(body));

	tariff_try_after = k_uptime_get() + 15000; /* back off if it fails */
	if (st == 200) {
		if (tariff_apply_json(body, strlen(body))) {
			tariff_requested = false;
			tariff_try_after = k_uptime_get() + RESYNC_MS;
		}
	} else if (st == 403) {
		LOG_WRN("tariff: 403, subscription expired");
		meter_cfg.authorized = false;
		tariff_requested = false;
		tariff_try_after = k_uptime_get() + RESYNC_MS;
	} else {
		LOG_WRN("tariff request failed: %d", st);
	}
}

/* Send the OLDEST record only (strict order). Returns true if the queue is empty or the
 * record was accepted by the server. */
static bool queue_send_head(void)
{
	char url[URL_MAX];

	if (!postq_peek(url, sizeof(url))) {
		return true;
	}

	int st = https_request(HTTP_POST, url, NULL, 0);

	if (st == 200 || st == 301) {
		postq_pop();
		postq_flush(); /* save at once: a power loss now must not send it twice */
		LOG_INF("sent (HTTP %d), %d left", st, postq_count());
		return true;
	}
	LOG_WRN("send failed: %d (record stays in the queue)", st);
	return false;
}

/* ---------------- nobat poll (net thread, every 5 s while the nobat page is open) ---------------- */
static void nobat_poll(void)
{
	uint32_t gen = nb_gen;
	int ph = nb_phase;

	if (ph == NB_SEARCH) {
		if (reserve_found) {
			k_mutex_lock(&nb_lock, K_FOREVER);
			if (gen == nb_gen) {
				nb_phase = NB_JOIN; /* station WiFi seen: say "ready" now */
			}
			k_mutex_unlock(&nb_lock);
			ph = NB_JOIN;
		} else {
			wifi_scan(); /* the result arrives as an event (reserve_found) */
			return;
		}
	}

	static char body[384];
	char path[80];
	bool join = (ph == NB_JOIN);

	snprintf(path, sizeof(path), "/api/taxi/%s?serial=%s", join ? "NobatReady" : "NobatStatus",
		 serial);
	int st = https_request(join ? HTTP_POST : HTTP_GET, path, body, sizeof(body));
	nobat_info_t inf;

	if (st != 200 || !nobat_parse(body, strlen(body), &inf)) {
		LOG_WRN("nobat: %s failed (%d)", join ? "ready" : "status", st);
		return; /* try again in 5 s, keep the last known place */
	}
	k_mutex_lock(&nb_lock, K_FOREVER);
	if (gen == nb_gen) { /* else the driver left or boarded meanwhile: drop the answer */
		if (inf.id > 0) {
			nb_id = inf.id;
		}
		nb_pos = inf.position;
		if (inf.state == NOBAT_NONE) {
			nb_phase = NB_JOIN; /* the server lost us: join again */
		} else {
			nb_phase = inf.state == NOBAT_TURN ? NB_TURN : NB_WAIT;
		}
	}
	k_mutex_unlock(&nb_lock);
}

/* ---------------- thread ---------------- */
#define SEND_BACKOFF_MIN_MS 5000
#define SEND_BACKOFF_MAX_MS 120000
#define FLASH_WRITE_IDLE_MS 500 /* write flash only when no key was used for a moment */
#define TRIP_CHECKPOINT_MS 10000 /* save the running trip this often (flash wear vs. lost fare) */

static void net_thread(void *a, void *b, void *c)
{
	int64_t last_connect = -CONNECT_RETRY_MS;
	int64_t last_sync = 0;
	int64_t last_scan = 0;
	int64_t last_ntp_try = -5000;
	int64_t send_after = 0;
	int64_t last_checkpoint = 0;
	bool checkpoint_active = false; /* the flash holds a running trip */
	int send_fails = 0;
	bool synced = false;
	int wd = wdog_add(150000); /* blocking TLS/DNS calls can take a while */

	net_wd = wd;
	ota_boot_check();

	while (1) {
		wdog_feed(wd);
		/* wake up for a new record, or every 300 ms */
		k_sem_take(&q_wake, K_MSEC(300));
		int64_t now = k_uptime_get();

		/* 1. save queue changes (flash write can stall other threads for a few ms,
		 *    so do it while the driver is not pressing keys) */
		if ((postq_dirty() || report_dirty()) && key_rest_ms() >= FLASH_WRITE_IDLE_MS) {
			postq_flush();
			report_flush();
		}

		/* 1b. running trip -> flash, so a power loss does not lose the fare */
		bool running = meter_any_active();

		if (running && now - last_checkpoint >= TRIP_CHECKPOINT_MS &&
		    key_rest_ms() >= FLASH_WRITE_IDLE_MS) {
			trip_state_t st;

			meter_export(&st);
			if (trip_store_save(&st)) {
				checkpoint_active = true;
				last_checkpoint = now;
			}
		} else if (!running && checkpoint_active) {
			/* trip ended: save the trip record first, then clear the running trip.
			 * Done at once, even while keys are used, so an ended trip never comes back. */
			postq_flush();
			report_flush();
			trip_state_t st;

			meter_export(&st);
			if (trip_store_save(&st)) {
				checkpoint_active = false;
			}
		}

		if (!connected) {
			synced = false;
			if (!connect_pending && now - last_connect >= CONNECT_RETRY_MS) {
				last_connect = now;
				wifi_connect();
			}
			continue;
		}

		if (serial[0] == '\0') {
			read_serial();
		}

		if ((!synced && now - last_ntp_try >= 5000) || now - last_sync >= RESYNC_MS) {
			last_ntp_try = now;
			if (ntp_sync()) {
				synced = true;
				last_sync = now;
			}
		}
		if (now >= tariff_try_after && (tariff_requested || tariff_try_after == 0)) {
			tariff_fetch();
		} else if (now >= tariff_try_after) {
			tariff_requested = true; /* periodic refresh */
		}

		if (nb_phase != NB_OFF && now - last_scan >= NOBAT_POLL_MS) {
			last_scan = now;
			nobat_poll();
		}

		/* firmware: confirm a test image, download an offered one, reboot into it */
		ota_poll();

		/* 2. upload, oldest first, only when idle; back off when the server fails */
		if (postq_count() > 0 && now >= send_after && key_rest_ms() >= IDLE_BEFORE_SEND_MS) {
			if (queue_send_head()) {
				send_fails = 0;
				send_after = 0; /* next record right away */
			} else {
				int64_t wait = SEND_BACKOFF_MIN_MS << MIN(send_fails, 5);

				send_fails++;
				send_after = now + MIN(wait, SEND_BACKOFF_MAX_MS);
			}
		}
	}
}

K_THREAD_DEFINE(net_tid, 6144, net_thread, NULL, NULL, NULL, 9, 0, 1500);

void net_init(void)
{
	net_mgmt_init_event_callback(&wifi_cb, wifi_event,
				     NET_EVENT_WIFI_CONNECT_RESULT |
					     NET_EVENT_WIFI_DISCONNECT_RESULT |
					     NET_EVENT_WIFI_SCAN_RESULT);
	net_mgmt_add_event_callback(&wifi_cb);
	net_mgmt_init_event_callback(&ip_cb, ip_event, NET_EVENT_IPV4_ADDR_ADD);
	net_mgmt_add_event_callback(&ip_cb);
}
```

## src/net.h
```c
#ifndef NET_H
#define NET_H
#include <stdbool.h>
#include <stddef.h>
#include <stdint.h>

#define SERVICE_MAX 10

void net_init(void);
bool net_wifi_connected(void);
/* Queue a POST. `path_query` is the part after the host, e.g. "/api/taxi/SetTaxiStart?serial=..". */
bool net_post(const char *path_query);
void net_service_send(int service_number, int start); /* start: 1 = begin, 2 = end */

/* Samar page data (from the tariff JSON) */
int cfg_service_count(void);
int cfg_service(int idx);

/* Reserve ("nobat") page: scan for the dispatch AP */
/* Nobat (queue at a taxi station). The UI calls these; the net thread does the network work.
 *   begin: look for the station WiFi (SSID "Usefi"), then tell the server "ready" (NobatReady)
 *          and ask for the place in the queue every 5 s (NobatStatus).
 *   board: the passenger is in. Tells the server (NobatBoard, through the upload queue) and
 *          remembers the queue id: the next single-meter trip end carries it (nobat_id).
 *   leave: leave the queue (NobatLeave, only if the car had joined). */
typedef enum { NB_OFF = 0, NB_SEARCH, NB_JOIN, NB_WAIT, NB_TURN } nb_phase_t;
void net_nobat_begin(void);
void net_nobat_leave(void);
void net_nobat_board(void);
nb_phase_t net_nobat_phase(void);
int net_nobat_position(void); /* 1 = you are next */

const char *net_serial(void);

/* Download https://host:port/path. Every piece of the body goes to `sink`; a negative return
 * from the sink stops the download. Returns the HTTP status (200 = whole file was given to the
 * sink), -ECANCELED if the sink stopped it, or another negative error. Net thread only. */
typedef int (*net_sink_t)(const uint8_t *data, size_t len, void *user);
int net_download(const char *host, uint16_t port, const char *path, net_sink_t sink, void *user);
/* Last HTTPS result: 1 = server answered, -1 = failed, 0 = not tried yet. */
int net_server_state(void);
#endif
```

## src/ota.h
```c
#ifndef OTA_H
#define OTA_H
#include <stdbool.h>

typedef enum {
	OTA_DISABLED,    /* built without MCUboot: no update possible */
	OTA_IDLE,        /* nothing to do */
	OTA_DOWNLOADING, /* percent is valid */
	OTA_READY,       /* downloaded, will reboot when the meter is idle */
	OTA_TESTING,     /* a new image runs and is not confirmed yet */
	OTA_FAILED,      /* last attempt failed */
} ota_state_t;

/* The server tariff may carry "fw_version" and "fw_url". Called after a tariff was accepted;
 * NULL, NULL means "no offer". Net thread only. */
void ota_offer(const char *version, const char *url);

/* Net thread, once at start: finds out if this boot is a test run or a rollback. */
void ota_boot_check(void);

/* Net thread, every loop while WiFi is up: download, reboot, confirm. */
void ota_poll(void);

ota_state_t ota_status(int *percent);
#endif
```
